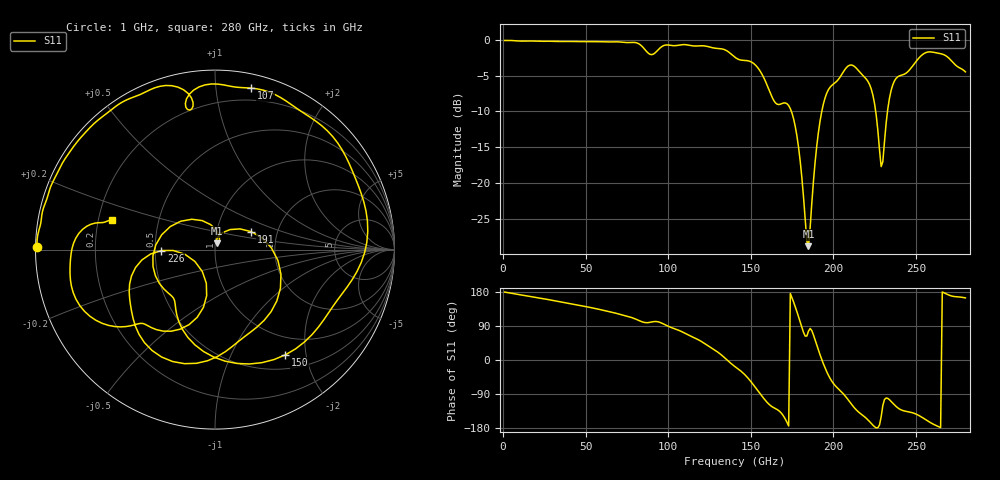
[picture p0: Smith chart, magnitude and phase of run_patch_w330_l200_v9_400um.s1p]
#  Hz  S  RI  R  50
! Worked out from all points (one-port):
!   280 points, 1 GHz to 280 GHz, reference 50 ohm
!   lowest |S11| = -28.8 dB at 185 GHz (marker M1), VSWR 1.07, Z = 50.7 + j3.56 ohm
!   |S11| at or under -10 dB: 174.6 GHz to 193 GHz (18.4 GHz wide, 10 % of centre); 225.7 GHz to 232.8 GHz (7.148 GHz wide, 3.12 % of centre)
!   S11 on the Smith chart (normalised r, x): 1 GHz: 0.00, +0.01; 107 GHz: 0.10, +1.24; 150 GHz: 0.70, -1.64; 191 GHz: 1.47, +0.31; 226 GHz: 0.54, -0.01; 280 GHz: 0.26, +0.13
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1e9  -0.992 0.0133
3.6e10  -0.8688 0.4463
7.1e10  -0.4882 0.836
8.6e10  -0.1315 0.8457
9.5e10  -0.1434 0.8653
1.06e11  0.1723 0.9016
1.07e11  0.2019 0.8997
1.2e11  0.5951 0.6899
1.3e11  0.8145 0.3126
1.41e11  0.7084 -0.2458
1.5e11  0.3917 -0.5866
1.6e11  -0.1806 -0.4461
1.72e11  -0.3454 -0.0942
1.76e11  -0.249 0.1284
1.81e11  0.00787 0.1081
1.85e11  0.00864 0.0351
1.91e11  0.2019 0.1001
1.97e11  0.3447 -0.2856
2.07e11  -0.0414 -0.6192
2.11e11  -0.298 -0.5982
2.2e11  -0.4781 -0.2348
2.26e11  -0.2983 -0.00518
2.29e11  -0.1125 -0.0655
2.35e11  -0.1444 -0.4181
2.46e11  -0.4493 -0.4193
2.6e11  -0.8053 -0.1702
2.71e11  -0.7154 0.1295
2.8e11  -0.5751 0.1657
